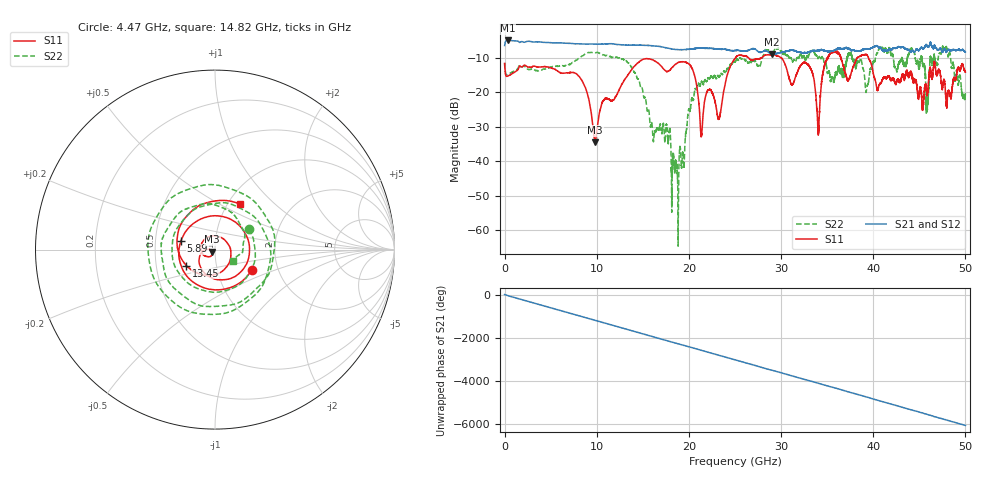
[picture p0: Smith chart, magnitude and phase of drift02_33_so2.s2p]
!Created with skrf (http://scikit-rf.org).
# Hz S RI R 50.0
!freq ReS11 ImS11 ReS21 ImS21 ReS12 ImS12 ReS22 ImS22
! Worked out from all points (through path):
!   10001 points, 300 kHz to 50 GHz, reference 50 ohm
!   highest |S21| = -5.04 dB at 325.3 MHz (marker M1); lowest = -9.0 dB at 29.01 GHz (marker M2)
!   group delay of S21, straight-line fit = 336 ps
!   lowest |S11| = -34.5 dB at 9.84 GHz (marker M3), VSWR 1.04, Z = 48.5 - j1.04 ohm
!   |S11| at or under -10 dB: start of sweep to 25.07 GHz; 29.97 GHz to 35.05 GHz (5.08 GHz wide, 15.6 % of centre); 39.47 GHz to end of sweep (the widest 3 of 9)
!   |S22| runs from -64.6 to -6.6 dB; largest |S21 - S12| = 0.021
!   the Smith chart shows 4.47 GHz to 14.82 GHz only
!   S11 on the Smith chart (normalised r, x): 4.47 GHz: 1.46, -0.35; 5.89 GHz: 0.68, +0.07; 13.45 GHz: 0.71, -0.13; 14.82 GHz: 1.13, +0.63
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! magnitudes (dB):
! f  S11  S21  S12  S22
! 300 kHz  -11.7  -6.5  -6.4  -11.5
! 325.3 MHz  -15.4  -5.0  -5.0  -15.0
! 4.47 GHz  -12.6  -5.6  -5.6  -13.2
! 5.89 GHz  -14.2  -5.7  -5.7  -12.5
! 8.335 GHz  -16.4  -6.1  -6.0  -9.6
! 9.84 GHz  -34.5  -6.1  -6.1  -8.5
! 13.45 GHz  -14.8  -6.4  -6.4  -11.5
! 14.82 GHz  -10.8  -6.4  -6.4  -18.5
! 16.67 GHz  -11.6  -6.7  -6.7  -30.7
! 18.67 GHz  -11.7  -7.7  -7.7  -42.5
! 20.37 GHz  -13.3  -7.5  -7.5  -21.9
! 21.37 GHz  -32.1  -7.2  -7.2  -17.0
! 23.31 GHz  -27.4  -7.6  -7.6  -15.6
! 25 GHz  -10.3  -7.9  -8.0  -11.2
! 29.01 GHz  -9.1  -9.0  -9.0  -8.2
! 33.34 GHz  -14.0  -8.1  -8.1  -8.1
! 34.02 GHz  -31.4  -7.9  -7.9  -10.2
! 35.54 GHz  -8.4  -8.1  -8.2  -15.4
! 41.67 GHz  -15.4  -7.7  -7.8  -7.5
! 45.87 GHz  -19.9  -6.8  -6.9  -22.9
! 47.76 GHz  -17.2  -7.5  -7.5  -7.3
! 50 GHz  -14.2  -8.4  -8.4  -20.5
